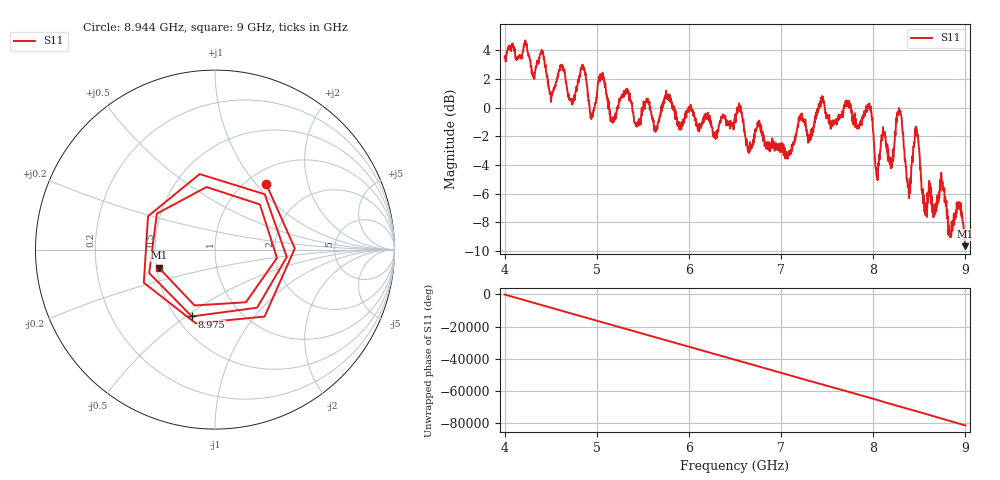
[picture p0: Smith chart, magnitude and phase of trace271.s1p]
! Created with skrf 1.8.0 (http://scikit-rf.org).
# Hz S RI R 50.0
!freq ReS11 ImS11
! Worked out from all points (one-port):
!   1601 points, 4 GHz to 9 GHz, reference 50 ohm
!   lowest |S11| = -9.7 dB at 9 GHz (marker M1), VSWR 1.98, Z = 25.7 - j5.84 ohm
!   |S11| at or under -10 dB: nowhere
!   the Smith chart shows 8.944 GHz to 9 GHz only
!   S11 on the Smith chart (normalised r, x): 8.944 GHz: 1.22, +1.13; 8.975 GHz: 0.60, -0.53; 9 GHz: 0.51, -0.12
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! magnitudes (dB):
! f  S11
! 4 GHz  3.5
! 4.406 GHz  4.0
! 4.506 GHz  0.7
! 4.625 GHz  3.0
! 4.728 GHz  0.3
! 4.853 GHz  2.8
! 4.944 GHz  -0.6
! 5.044 GHz  2.2
! 5.172 GHz  -1.1
! 5.25 GHz  0.5
! 5.875 GHz  -1.2
! 6.5 GHz  -0.9
! 7.125 GHz  -2.7
! 7.444 GHz  0.8
! 7.75 GHz  0.2
! 7.959 GHz  0.3
! 8.044 GHz  -4.6
! 8.109 GHz  -1.7
! 8.2 GHz  -3.9
! 8.284 GHz  -0.3
! 8.375 GHz  -5.5
! 8.469 GHz  -1.5
! 8.559 GHz  -7.2
! 8.747 GHz  -5.2
! 8.834 GHz  -9.0
! 8.944 GHz  -6.7
! 8.975 GHz  -8.1
! 9 GHz  -9.7
